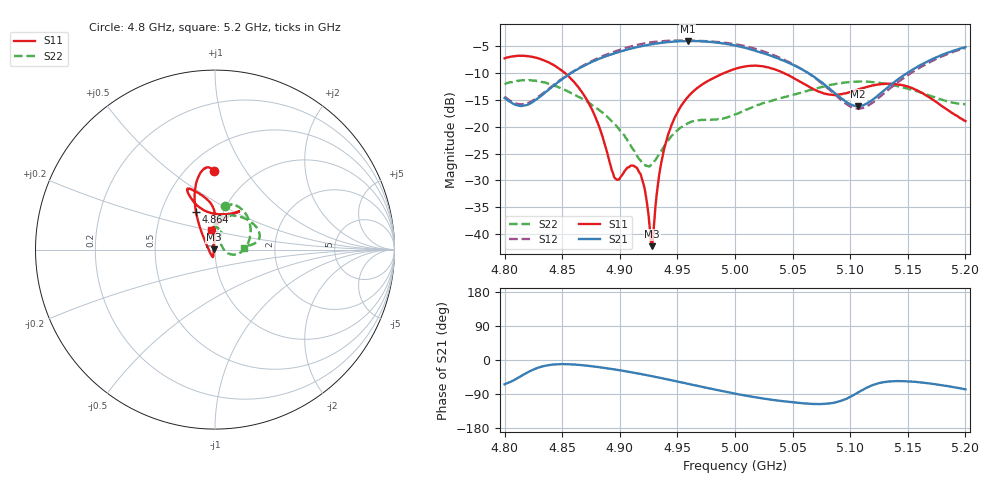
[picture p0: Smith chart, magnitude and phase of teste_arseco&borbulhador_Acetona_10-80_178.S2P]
! Network Analyzer HP8722D
! Hewlett-Packard
! Data name: Linha & Wilkinson
! Saver's name: Rodrigo Anjos
! Comments: Teste da utilização de aquisição
! continua pelo VNA HP8722D
! Time and date: 25/4/2025 16:45
!  Frequency  S11  S21  S12  S22
# HZ  S  MA R 50
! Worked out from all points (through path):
!   401 points, 4.8 GHz to 5.2 GHz, reference 50 ohm
!   highest |S21| = -3.99 dB at 4.959 GHz (marker M1); lowest = -16.2 dB at 5.107 GHz (marker M2)
!   lowest |S11| = -42.3 dB at 4.928 GHz (marker M3), VSWR 1.02, Z = 49.2 + j0.0891 ohm
!   |S11| at or under -10 dB: 4.853 GHz to 4.99 GHz (137.7 MHz wide, 2.8 % of centre); 5.043 GHz to end of sweep
!   |S22| runs from -27.4 to -11.3 dB; largest |S21 - S12| = 1.2
!   S11 on the Smith chart (normalised r, x): 4.8 GHz: 0.67, +0.72; 4.864 GHz: 0.75, +0.33; 5.2 GHz: 0.94, +0.21
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4.8e9  0.4352 90.9  0.1854 -64.0  0.191 69.6  0.2485 77.5
4.82e9  0.4544 97.2  0.1603 -32.6  0.1664 98.2  0.271 62.1
4.843e9  0.3745 106.5  0.2443 -11.8  0.2478 118.8  0.2434 37.2
4.864e9  0.2343 116.9  0.348 -12.7  0.3512 121.1  0.1903 12.3
4.867e9  0.2111 118.5  0.3622 -13.7  0.3659 120.8  0.1833 8.9
4.88e9  0.1141 128.6  0.4219 -18.2  0.4313 118.3  0.1486 -4.8
4.896e9  0.03293 -169.7  0.4874 -25.2  0.506 113.3  0.105 -15.5
4.91e9  0.04342 -107.9  0.5365 -32.3  0.5628 107.3  0.06497 -13.1
4.917e9  0.03733 -105.3  0.5593 -36.3  0.5873 103.5  0.04967 -0.4
4.921e9  0.02801 -109.0  0.5717 -38.5  0.5989 101.5  0.04411 11.9
4.926e9  0.01142 -135.3  0.5851 -41.6  0.6107 98.4  0.04268 32.2
4.928e9  0.007681 173.2  0.5905 -42.8  0.6154 97.2  0.04462 40.1
4.934e9  0.03442 100.2  0.603 -46.5  0.6263 93.4  0.05521 57.3
4.944e9  0.0976 90.9  0.6202 -52.8  0.6345 87.1  0.07994 68.8
4.959e9  0.1898 89.8  0.6319 -62.7  0.6381 77.4  0.1076 70.7
5e9  0.347 109.2  0.5734 -88.8  0.5917 51.0  0.1302 88.4
5.029e9  0.3583 115.3  0.4688 -103.6  0.4866 34.4  0.1717 85.7
5.067e9  0.228 105.7  0.3014 -115.9  0.2982 23.6  0.2219 57.3
5.107e9  0.223 64.7  0.1555 -85.4  0.1475 57.6  0.2637 24.2
5.134e9  0.2522 57.9  0.2399 -56.5  0.2253 88.7  0.248 12.5
5.169e9  0.1869 70.5  0.4162 -61.9  0.3991 84.9  0.1952 6.9
5.2e9  0.1131 100.8  0.5543 -77.4  0.543 70.4  0.1619 3.9
